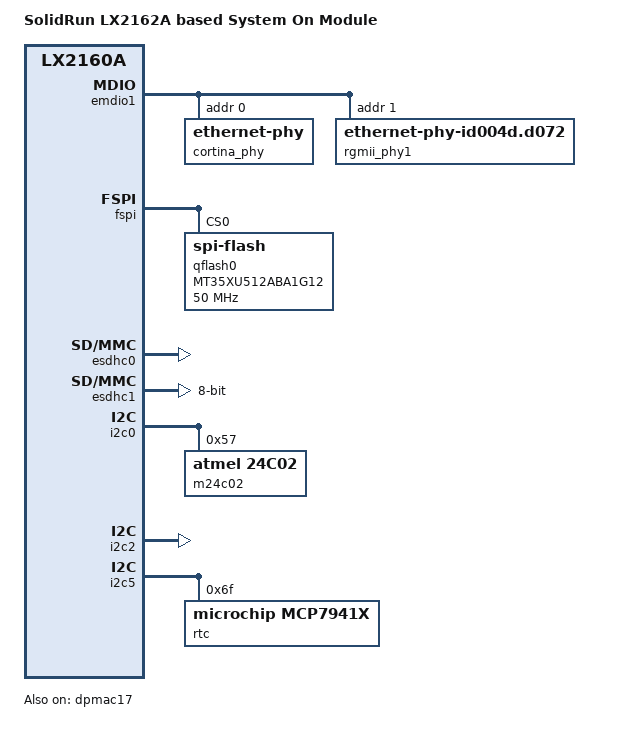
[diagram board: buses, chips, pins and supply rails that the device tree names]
// SPDX-License-Identifier: GPL-2.0+ OR X11
/*
 * SolidRun LX2160ACEX7 device tree source
 *
 * Author:	Rabeeh Khoury <rabeeh@solid-run.com>
 *
 * Copyright 2021 SolidRun ltd.
 *
 */

#include "fsl-lx2160a.dtsi"

/ {
	model = "SolidRun LX2162A based System On Module";
	compatible = "fsl,lx2160asom", "fsl,lx2160a";

	aliases {
		spi0 = &fspi;
	};
};

&dpmac17 {
	status = "okay";
	phy-handle = <&rgmii_phy1>;
	phy-connection-type = "rgmii-id";
};

&emdio1 {
	status = "okay";

	cortina_phy: ethernet-phy@0 {
		reg = <0x0>;
	};

	rgmii_phy1: ethernet-phy@1 {
		/* AR8035 PHY - "compatible" property not strictly needed */
		compatible = "ethernet-phy-id004d.d072";
		reg = <0x1>;
		/* Poll mode - no "interrupts" property defined */
	};
};

&fspi {
	bus-num = <0>;
	status = "okay";

	qflash0: MT35XU512ABA1G12@0 {
		#address-cells = <1>;
		#size-cells = <1>;
		compatible = "spi-flash";
		spi-max-frequency = <50000000>;
		reg = <0>;
		/* The following setting enables 1-1-8 (CMD-ADDR-DATA) mode */
		fspi-rx-bus-width = <8>; /* 8 FSPI Rx lines */
		fspi-tx-bus-width = <1>; /* 1 FSPI Tx line */
	};

};

&esdhc0 {
	status = "okay";
};

&esdhc1 {
	mmc-hs200-1_8v;
	mmc-hs400-1_8v;
	bus-width = <8>;
	status = "okay";
};

&i2c0 {
	status = "okay";
	u-boot,dm-pre-reloc;
	m24c02@57 {
		compatible = "atmel,24c02";
		reg = <0x57>;
	};
};

&i2c2 {
	status = "okay";
	u-boot,dm-pre-reloc;
};

&i2c5 {
	status = "okay";
	rtc@6f {
		compatible = "microchip,mcp7941x";
		reg = <0x6f>;
	};
};
